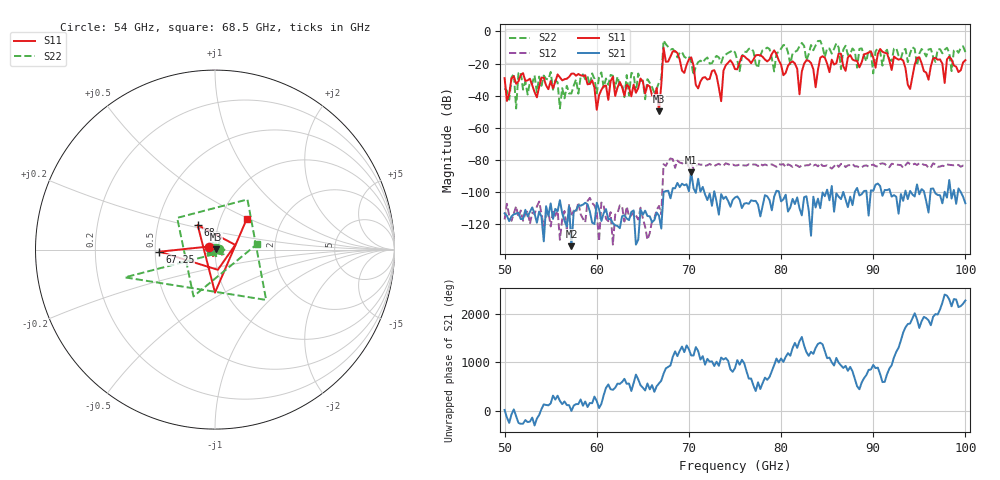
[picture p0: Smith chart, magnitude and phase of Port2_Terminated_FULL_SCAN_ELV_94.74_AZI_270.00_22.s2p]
! 11/25/2026 1:48:19 PM
! C:\ANRITSUVNA\TEMP\TEMP.S2P
! CHANNEL.1
! TR.MEASUREMENT
! RAW.DATA
# HZ S RI R 50.0
! FREQ.HZ  S11RE  S11IM  S21RE  S21IM  S12RE  S12IM  S22RE  S22IM
!; PortSelection: Port_12
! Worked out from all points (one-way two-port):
!   201 points, 50 GHz to 100 GHz, reference 50 ohm
!   highest |S21| = -87.86 dB at 70.25 GHz (marker M1); lowest = -134.0 dB at 57.25 GHz (marker M2)
!   lowest |S11| = -49.7 dB at 66.75 GHz (marker M3), VSWR 1.01, Z = 50.3 + j0.0705 ohm
!   |S11| at or under -10 dB: start of sweep to end of sweep
!   |S22| runs from -48.1 to -5.6 dB; largest |S21 - S12| = 0.00012
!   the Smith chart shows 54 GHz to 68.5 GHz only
!   S11 on the Smith chart (normalised r, x): 54 GHz: 0.93, +0.03; 67.25 GHz: 0.53, -0.01; 68 GHz: 0.80, +0.22; 68.5 GHz: 1.33, +0.49
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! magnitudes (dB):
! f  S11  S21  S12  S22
! 50 GHz  -29.1  -113.5  -117.3  -35.5
! 54 GHz  -28.7  -115.7  -113.6  -33.9
! 57.25 GHz  -26.3  -134.0  -115.4  -38.7
! 58.5 GHz  -27.7  -108.1  -116.8  -26.8
! 60 GHz  -48.8  -106.9  -112.8  -38.6
! 61.75 GHz  -28.4  -119.6  -133.0  -27.6
! 66.75 GHz  -49.7  -114.9  -108.9  -31.9
! 67.25 GHz  -10.2  -100.1  -82.8  -5.6
! 68 GHz  -15.5  -104.1  -79.2  -11.2
! 68.5 GHz  -12.1  -97.9  -85.1  -12.6
! 70.25 GHz  -16.1  -87.9  -82.5  -19.1
! 73.5 GHz  -43.5  -101.5  -83.5  -19.6
! 73.75 GHz  -24.4  -104.5  -83.7  -15.3
! 75 GHz  -23.5  -103.6  -83.6  -13.0
! 79.25 GHz  -11.8  -103.1  -83.7  -24.9
! 82 GHz  -39.2  -110.4  -84.6  -9.2
! 83.5 GHz  -23.5  -103.1  -83.6  -11.7
! 91.75 GHz  -18.1  -98.3  -84.7  -17.5
! 94 GHz  -35.9  -99.5  -82.7  -13.7
! 94.75 GHz  -16.5  -95.4  -83.3  -21.1
! 97.75 GHz  -32.1  -100.0  -84.0  -11.4
! 100 GHz  -17.9  -107.2  -83.7  -12.8
